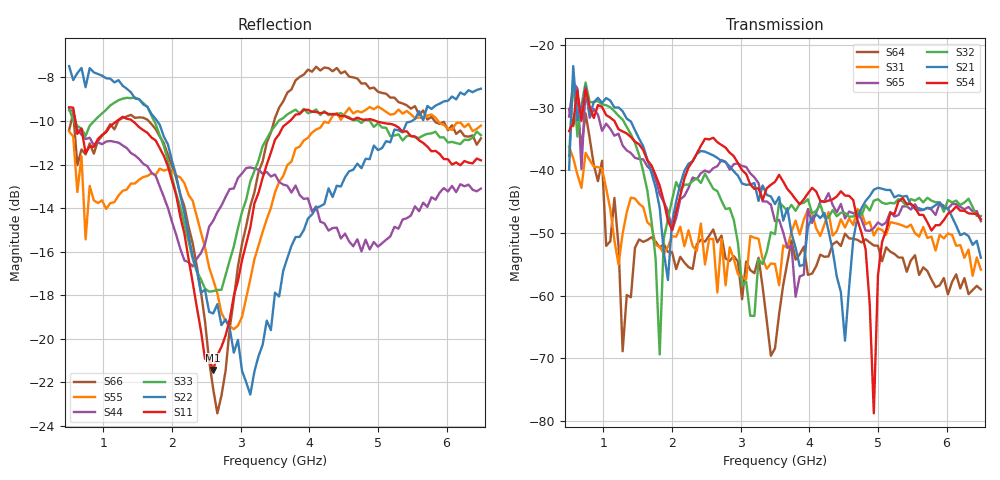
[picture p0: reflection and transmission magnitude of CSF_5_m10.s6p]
!Keysight Technologies,M9804A,MY58100912,A.14.10.03
!Date: Thursday, April 27, 2023 10:28:33
!Correction: S11(C  6-Port  )
!S12(C  6-Port  )
!S13(C  6-Port  )
!S14(C  6-Port  )
!S15(C  6-Port  )
!S16(C  6-Port  )
!S21(C  6-Port  )
!S22(C  6-Port  )
!S23(C  6-Port  )
!S24(C  6-Port  )
!S25(C  6-Port  )
!S26(C  6-Port  )
!S31(C  6-Port  )
!S32(C  6-Port  )
!S33(C  6-Port  )
!S34(C  6-Port  )
!S35(C  6-Port  )
!S36(C  6-Port  )
!S41(C  6-Port  )
!S42(C  6-Port  )
!S43(C  6-Port  )
!S44(C  6-Port  )
!S45(C  6-Port  )
!S46(C  6-Port  )
!S51(C  6-Port  )
!S52(C  6-Port  )
!S53(C  6-Port  )
!S54(C  6-Port  )
!S55(C  6-Port  )
!S56(C  6-Port  )
!S61(C  6-Port  )
!S62(C  6-Port  )
!S63(C  6-Port  )
!S64(C  6-Port  )
!S65(C  6-Port  )
!S66(C  6-Port  )
!S6P File: Measurement: :
# Hz S  RI  R 50
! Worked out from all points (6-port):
!   101 points, 500 MHz to 6.5 GHz, reference 50 ohm
!   strongest paths, dB at 500 MHz, 2 GHz, 3.5 GHz, 5 GHz, 6.5 GHz:
!     S54: -33.7, -49.5, -41.8, -56.8, -47.8
!     S21: -39.9, -48.3, -45.4, -42.8, -54.0
!     S32: -37.7, -44.7, -50.2, -44.6, -47.3
!     S65: -31.4, -49.6, -48.1, -48.3, -48.1
!     S31: -36.3, -50.5, -54.9, -49.3, -55.9
!     S64: -30.2, -53.0, -68.4, -52.0, -59.0
!   lowest |S11| = -21.4 dB at 2.6 GHz (marker M1), VSWR 1.19, Z = 42.5 + j2.14 ohm
!   |S11| at or under -10 dB: 590.4 MHz to 1.197 GHz (606.9 MHz wide, 67.9 % of centre); 1.423 GHz to 3.716 GHz (2.293 GHz wide, 89.2 % of centre); 4.969 GHz to end of sweep
